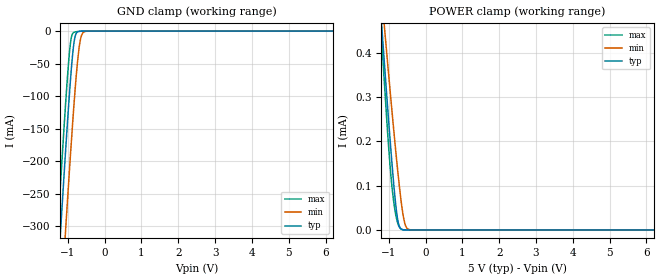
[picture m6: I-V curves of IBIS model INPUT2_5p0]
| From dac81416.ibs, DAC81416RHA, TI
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|   INPUT2_5p0 Model
[Model]   INPUT2_5p0
Model_type   Input
Vinl = 1.5
Vinh = 3.5
|   typ   min   max
C_comp   1.720E-13  1.689E-13  1.749E-13
|  Where Nom  PVT is Nominal Process, 5.0V,   25C
|   Fast PVT is Strong Process,  5.5V,  -40C
|   Slow PVT is Weak Process,   4.5V,  125C
[Model spec]
|subparameter
Vinl   0.54   0.495   0.585
Vinh   1.26   1.155   1.365
[Voltage Range]   5   4.5   5.5
|Junction Temperature
[Temperature Range]   25   125   -40
[Power Clamp Reference]   5   4.5   5.5
[GND Clamp Reference]   0   0   0
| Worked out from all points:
|   GND clamp passes 1 mA (typ) near -0.72 V on its own axis
|   POWER clamp passes 1 mA (typ) near -1.64 V on its own axis
[GND Clamp]
|   Voltage   I(typ)   I(min)   I(max)
-5V       -4.045A    -4.157A    -3.979A
-1.43V    -527.2mA   -650.5mA   -453.2mA
-1.25V    -357.2mA   -480.9mA   -282.7mA
-1.16V    -274.1mA   -397.5mA   -199.8mA
-1.07V    -193.1mA   -315.4mA   -120.2mA
-935mV    -80.74mA   -196.7mA   -21.67mA
-830mV    -16.98mA   -111.3mA   -1.867mA
-740mV    -1.391mA   -49.34mA   -727.1uA
-680mV    -315.1uA   -20.24mA   -351.3uA
-620mV    -87.35uA   -5.551mA   -134uA
-515mV    -8.108uA   -354.9uA   -12.86uA
10V       0A         0A         0A
[POWER Clamp]
|   Voltage   I(typ)   I(min)   I(max)
-5V       5.146mA    4.329mA    6.147mA
-1.235V   513.4uA    571.3uA    494uA
-1.145V   408.6uA    485.5uA    369.6uA
-1.07V    322.8uA    414.7uA    270.5uA
-980mV    222.9uA    331.1uA    163.1uA
-905mV    144.2uA    262.9uA    92.69uA
-770mV    31.08uA    146.1uA    19.93uA
-710mV    8.245uA    98.82uA    6.493uA
-650mV    1.655uA    57.06uA    1.557uA
-545mV    85nA       10.32uA    64.5nA
-410mV    0A         273.5nA    0A
10V       0A         0A         0A
